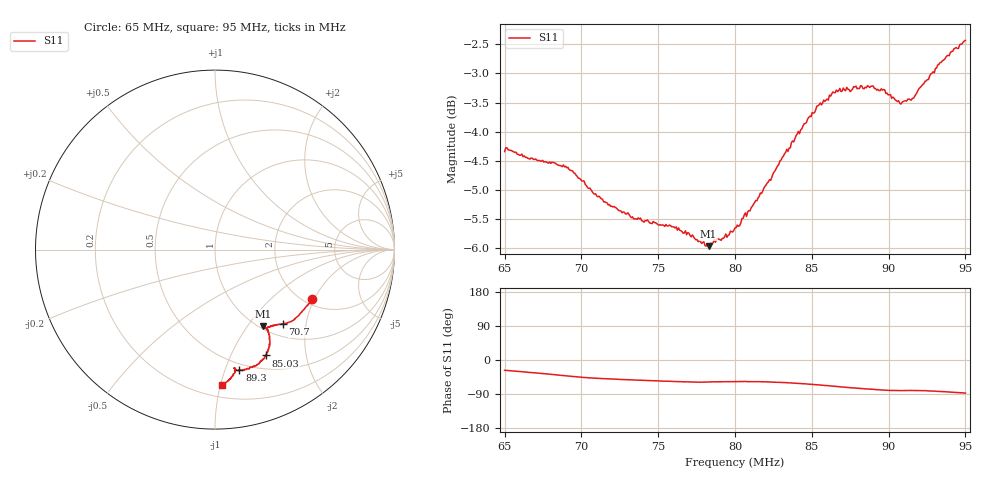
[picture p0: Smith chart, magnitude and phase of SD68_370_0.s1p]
! NanoVNA-App
! Date: 2025-08-09 12:42:54
! Start: 65MHz Stop: 95MHz Points: 401
! S-Parameter data: F S11
# Hz S RI R 50
!  Frequency  S11_Real  S11_Imag
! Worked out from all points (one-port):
!   401 points, 65 MHz to 95 MHz, reference 50 ohm
!   lowest |S11| = -6.0 dB at 78.28 MHz (marker M1), VSWR 3.02, Z = 51.8 - j59.2 ohm
!   |S11| at or under -10 dB: nowhere
!   S11 on the Smith chart (normalised r, x): 65 MHz: 2.18, -1.92; 70.7 MHz: 1.23, -1.48; 85.03 MHz: 0.66, -1.37; 89.3 MHz: 0.44, -1.12; 95 MHz: 0.29, -1.01
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6.5e7  0.5391 -0.2778
6.5225e7  0.5384 -0.2843
6.6875e7  0.4978 -0.33
6.875e7  0.4458 -0.3846
6.95e7  0.4206 -0.4016
7.07e7  0.3773 -0.4141
7.25e7  0.3366 -0.4216
7.3625e7  0.3184 -0.4242
7.625e7  0.2829 -0.4353
7.76e7  0.2657 -0.4323
7.8275e7  0.2658 -0.427
8e7  0.2837 -0.4376
8.1575e7  0.3007 -0.4663
8.3e7  0.3059 -0.5122
8.375e7  0.3037 -0.5399
8.5025e7  0.285 -0.59
8.645e7  0.2418 -0.6373
8.75e7  0.1965 -0.654
8.8775e7  0.1573 -0.6703
8.93e7  0.1363 -0.6724
8.9675e7  0.1255 -0.6742
9.0125e7  0.1147 -0.6693
9.0725e7  0.1076 -0.6587
9.125e7  0.1107 -0.6636
9.1625e7  0.1103 -0.6651
9.2375e7  0.1093 -0.6885
9.3725e7  0.0746 -0.7272
9.5e7  0.0373 -0.7549
